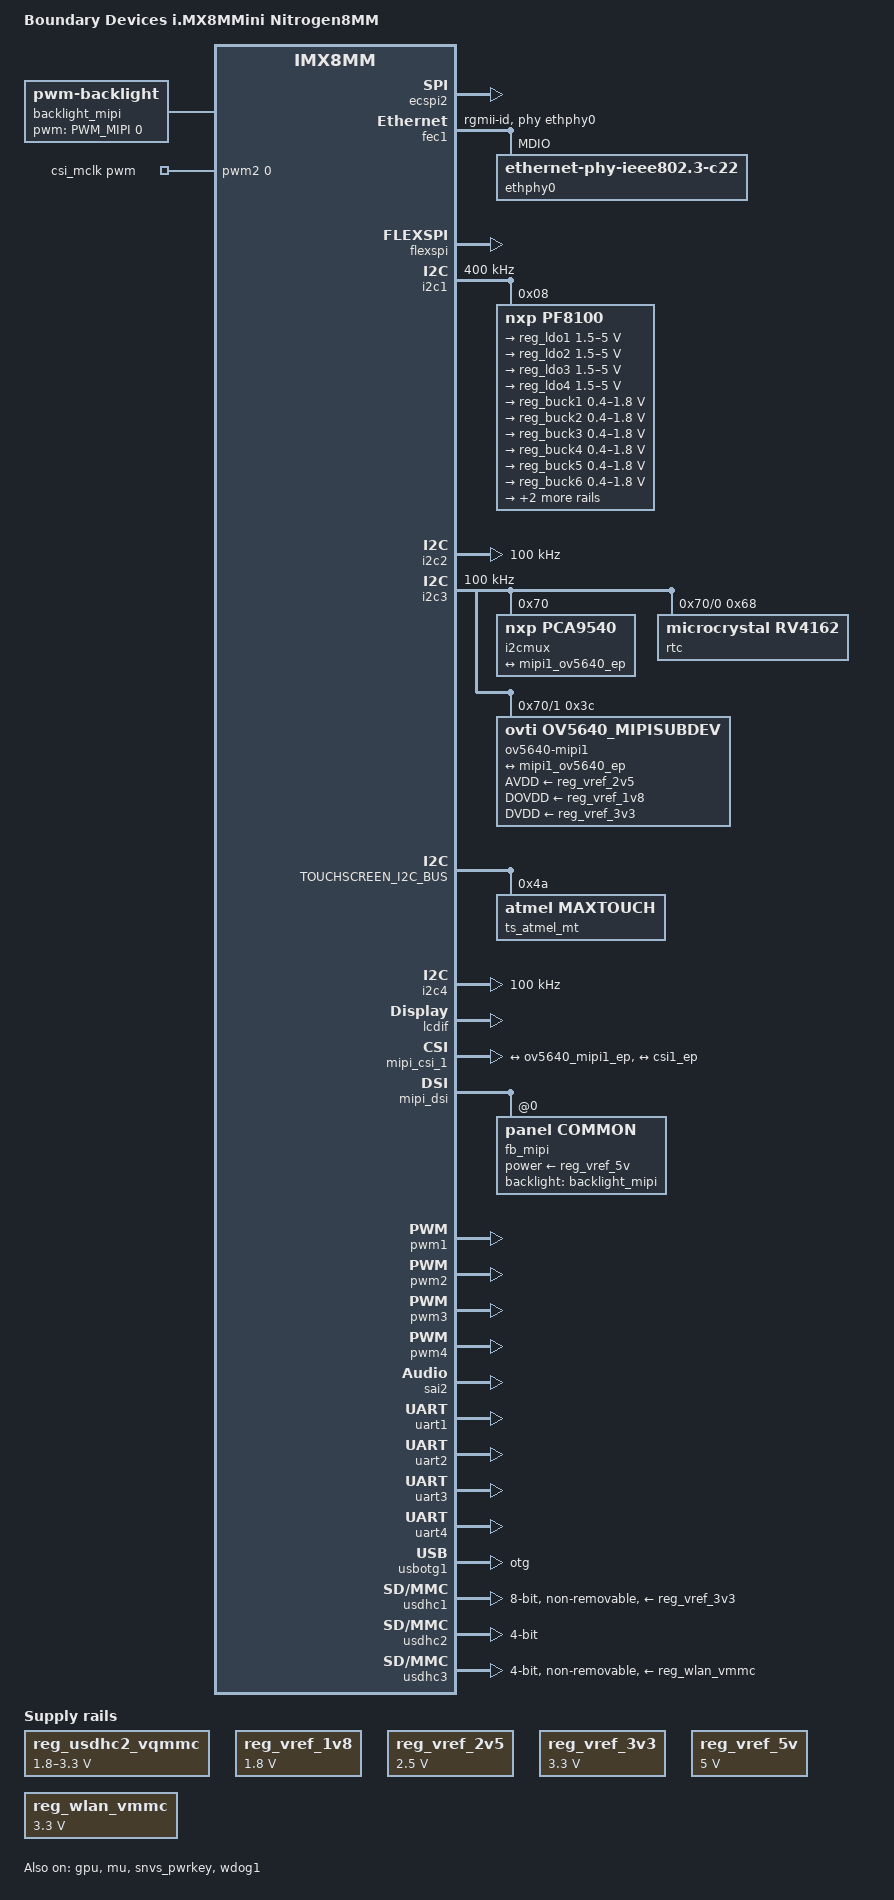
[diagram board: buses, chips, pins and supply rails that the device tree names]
// SPDX-License-Identifier: (GPL-2.0+ OR MIT)
/*
 * Copyright 2018 Boundary Devices
 */
#ifndef TOUCHSCREEN_I2C_BUS
#define TOUCHSCREEN_I2C_BUS	i2c2
#endif

#ifndef PWM_MIPI
#define PWM_MIPI	pwm3
#endif

#ifndef TC358867_I2C_BUS
#define TC358867_I2C_BUS	<&TOUCHSCREEN_I2C_BUS>
#endif

&iomuxc {
	pinctrl-names = "default";
	pinctrl-0 = <&pinctrl_hog>;

	pinctrl_bt_rfkill: bt-rfkillgrp {
		fsl,pins = <
#define GP_BT_RFKILL_RESET	<&gpio3 14 GPIO_ACTIVE_LOW>
			MX8MMN(IOMUXC_NAND_DQS_GPIO3_IO14, 0x119)
		>;
	};

	pinctrl_ecspi2: ecspi2grp {
		fsl,pins = <
			/* J15 */
#define GP_ECSPI2_CS0	<&gpio5 13 GPIO_ACTIVE_LOW>
			MX8MMN(IOMUXC_ECSPI2_SS0_GPIO5_IO13, 0x140)	/* Pin 39 */
			MX8MMN(IOMUXC_ECSPI2_MISO_ECSPI2_MISO, 0x19)	/* Pin 41 */
			MX8MMN(IOMUXC_ECSPI2_SCLK_ECSPI2_SCLK, 0x19)	/* Pin 43 */
			MX8MMN(IOMUXC_ECSPI2_MOSI_ECSPI2_MOSI, 0x19)	/* Pin 45 */
		>;
	};

	pinctrl_fec1: fec1grp {
		fsl,pins = <
			/* PAD_CTL_ODE is screwy on 8mm mini, avoid it */
#define GP_MII_MDC	<&gpio1 16 GPIO_PULSE_HIGH>
			MX8MMN(IOMUXC_ENET_MDC_GPIO1_IO16, 0x00)
#define GP_MII_MDIO	<&gpio1 17 GPIO_ACTIVE_HIGH>
			MX8MMN(IOMUXC_ENET_MDIO_GPIO1_IO17, 0x00)
			MX8MMN(IOMUXC_ENET_RD0_ENET1_RGMII_RD0, 0x91)
			MX8MMN(IOMUXC_ENET_RD1_ENET1_RGMII_RD1, 0x91)
			MX8MMN(IOMUXC_ENET_RD2_ENET1_RGMII_RD2, 0x91)
			MX8MMN(IOMUXC_ENET_RD3_ENET1_RGMII_RD3, 0x91)
			MX8MMN(IOMUXC_ENET_RXC_ENET1_RGMII_RXC, 0x91)
			MX8MMN(IOMUXC_ENET_RX_CTL_ENET1_RGMII_RX_CTL, 0x91)
			MX8MMN(IOMUXC_ENET_TD0_ENET1_RGMII_TD0, 0x10)
			MX8MMN(IOMUXC_ENET_TD1_ENET1_RGMII_TD1, 0x10)
			MX8MMN(IOMUXC_ENET_TD2_ENET1_RGMII_TD2, 0x10)
			MX8MMN(IOMUXC_ENET_TD3_ENET1_RGMII_TD3, 0x10)
			MX8MMN(IOMUXC_ENET_TXC_ENET1_RGMII_TXC, 0x12)
			MX8MMN(IOMUXC_ENET_TX_CTL_ENET1_RGMII_TX_CTL, 0x10)
#define GP_FEC1_RESET	<&gpio3 15 GPIO_ACTIVE_LOW>
			MX8MMN(IOMUXC_NAND_RE_B_GPIO3_IO15, 0x159)
#define GPIRQ_FEC1_PHY	<&gpio3 16 IRQ_TYPE_LEVEL_LOW>
			MX8MMN(IOMUXC_NAND_READY_B_GPIO3_IO16, 0x159)
		>;
	};

	pinctrl_flexspi: flexspigrp {
		fsl,pins = <
			MX8MMN(IOMUXC_NAND_ALE_QSPI_A_SCLK, 0x1c2)
			MX8MMN(IOMUXC_NAND_CE0_B_QSPI_A_SS0_B, 0x82)
			MX8MMN(IOMUXC_NAND_DATA00_QSPI_A_DATA0, 0x82)
			MX8MMN(IOMUXC_NAND_DATA01_QSPI_A_DATA1, 0x82)
			MX8MMN(IOMUXC_NAND_DATA02_QSPI_A_DATA2, 0x82)
			MX8MMN(IOMUXC_NAND_DATA03_QSPI_A_DATA3, 0x82)
		>;
	};

	pinctrl_hog: hoggrp {
		fsl,pins = <
			MX8MMN(IOMUXC_GPIO1_IO03_GPIO1_IO3, 0x09)
			MX8MMN(IOMUXC_GPIO1_IO08_GPIO1_IO8, 0x09)
		>;
	};

	pinctrl_i2c1: i2c1grp {
		fsl,pins = <
			MX8MMN(IOMUXC_I2C1_SCL_I2C1_SCL, 0x400001c3)
			MX8MMN(IOMUXC_I2C1_SDA_I2C1_SDA, 0x400001c3)
		>;
	};

	pinctrl_i2c1_1: i2c1_1grp {
		fsl,pins = <
#define GP_I2C1_SCL	<&gpio5 14 GPIO_OPEN_DRAIN>
			MX8MMN(IOMUXC_I2C1_SCL_GPIO5_IO14, 0x400001c3)
#define GP_I2C1_SDA	<&gpio5 15 GPIO_OPEN_DRAIN>
			MX8MMN(IOMUXC_I2C1_SDA_GPIO5_IO15, 0x400001c3)
		>;
	};

	pinctrl_i2c1_pf8100: i2c1-pf8100grp {
		fsl,pins = <
#define GP_I2C1_PF8100_EWARN	<&gpio3 3 GPIO_ACTIVE_LOW>
			MX8MMN(IOMUXC_NAND_CE2_B_GPIO3_IO3, 0x149)
#define GP_I2C1_PF8100_FAULT	<&gpio3 4 GPIO_ACTIVE_LOW>
			MX8MMN(IOMUXC_NAND_CE3_B_GPIO3_IO4, 0x149)
		>;
	};

	pinctrl_i2c2: i2c2grp {
		fsl,pins = <
			MX8MMN(IOMUXC_I2C2_SCL_I2C2_SCL, 0x400001c3)
			MX8MMN(IOMUXC_I2C2_SDA_I2C2_SDA, 0x400001c3)
		>;
	};

	pinctrl_i2c2_1: i2c2_1grp {
		fsl,pins = <
#define GP_I2C2_SCL	<&gpio5 16 GPIO_OPEN_DRAIN>
			MX8MMN(IOMUXC_I2C2_SCL_GPIO5_IO16, 0x400001c3)
#define GP_I2C2_SDA	<&gpio5 17 GPIO_OPEN_DRAIN>
			MX8MMN(IOMUXC_I2C2_SDA_GPIO5_IO17, 0x400001c3)
		>;
	};

	pinctrl_sn65dsi83: sn65dsi83grp {
		fsl,pins = <
#define GPIRQ_SN65DSI83	<&gpio1 1 IRQ_TYPE_LEVEL_HIGH>
			MX8MMN(IOMUXC_GPIO1_IO01_GPIO1_IO1, 0x04)
#define GP_SN65DSI83_EN	<&gpio1 9 GPIO_ACTIVE_HIGH>
			MX8MMN(IOMUXC_GPIO1_IO09_GPIO1_IO9, 0x106)
		>;
	};

	pinctrl_ts_atmel: ts-atmelgrp {
		fsl,pins = <
#define GPIRQ_TS_ATMEL	<&gpio1 6 IRQ_TYPE_EDGE_FALLING>
#define GP_TS_ATMEL	<&gpio1 6 GPIO_ACTIVE_LOW>
			MX8MMN(IOMUXC_GPIO1_IO06_GPIO1_IO6, 0x149)
#define GP_TS_ATMEL_RESET	<&gpio1 7 GPIO_ACTIVE_LOW>
			MX8MMN(IOMUXC_GPIO1_IO07_GPIO1_IO7, 0x149)
		>;
	};

	pinctrl_ts_gt911: ts-gt911grp {
		fsl,pins = <
#define GPIRQ_GT911 		<&gpio1 6 IRQ_TYPE_LEVEL_HIGH>
#define GP_GT911_IRQ 		<&gpio1 6 GPIO_ACTIVE_HIGH>
			MX8MMN(IOMUXC_GPIO1_IO06_GPIO1_IO6, 0x1d6)
			/* driver writes levels, instead of active/inactive */
#define GP_GT911_RESET		<&gpio1 7 GPIO_ACTIVE_HIGH>
			MX8MMN(IOMUXC_GPIO1_IO07_GPIO1_IO7, 0x149)
		>;
	};

	pinctrl_ts_ft5x06: ts-ft5x06grp {
		fsl,pins = <
#define GPIRQ_TS_FT5X06	<&gpio1 6 IRQ_TYPE_EDGE_FALLING>
#define GP_TS_FT5X06_WAKE	<&gpio1 6 GPIO_ACTIVE_LOW>
			MX8MMN(IOMUXC_GPIO1_IO06_GPIO1_IO6, 0x149)
#define GP_TS_FT5X06_RESET	<&gpio1 7 GPIO_ACTIVE_LOW>
			MX8MMN(IOMUXC_GPIO1_IO07_GPIO1_IO7, 0x109)
		>;
	};

	pinctrl_ts_ft7250: ts-ft7250grp {
		fsl,pins = <
#define GPIRQ_TS_FT7250	<&gpio1 6 IRQ_TYPE_EDGE_FALLING>
#define GP_TS_FT7250_WAKE	<&gpio1 6 GPIO_ACTIVE_LOW>
			MX8MMN(IOMUXC_GPIO1_IO06_GPIO1_IO6, 0x149)
#define GP_TS_FT7250_RESET	<&gpio1 7 GPIO_ACTIVE_LOW>
			MX8MMN(IOMUXC_GPIO1_IO07_GPIO1_IO7, 0x109)
		>;
	};

	pinctrl_ts_gslx680: ts-gslx680grp {
		fsl,pins = <
#define GPIRQ_GSLX680	<&gpio1 6 IRQ_TYPE_EDGE_FALLING>
			MX8MMN(IOMUXC_GPIO1_IO06_GPIO1_IO6, 0x149)
#define GP_TS_GSLX680_POWER	<&gpio1 7 GPIO_ACTIVE_HIGH>
			MX8MMN(IOMUXC_GPIO1_IO07_GPIO1_IO7, 0x109)
		>;
	};

	pinctrl_ts_ili251x: ts-ili251xgrp {
		fsl,pins = <
#define GPIRQ_TS_ILI251X	<&gpio1 6 IRQ_TYPE_EDGE_FALLING>
			MX8MMN(IOMUXC_GPIO1_IO06_GPIO1_IO6, 0x149)
#define GP_TS_ILI251X_RESET	<&gpio1 7 GPIO_ACTIVE_LOW>
			MX8MMN(IOMUXC_GPIO1_IO07_GPIO1_IO7, 0x109)
		>;
	};

	pinctrl_ts_st1633: ts-st1633grp {
		fsl,pins = <
#define GPIRQ_ST1633 		<&gpio1 6 IRQ_TYPE_EDGE_FALLING>
#define GP_ST1633_IRQ 		<&gpio1 6 GPIO_ACTIVE_LOW>
			MX8MMN(IOMUXC_GPIO1_IO06_GPIO1_IO6, 0x1d6)
#define GP_ST1633_RESET		<&gpio1 7 GPIO_ACTIVE_LOW>
			MX8MMN(IOMUXC_GPIO1_IO07_GPIO1_IO7, 0x149)
		>;
	};

	pinctrl_i2c3: i2c3grp {
		fsl,pins = <
			MX8MMN(IOMUXC_I2C3_SCL_I2C3_SCL, 0x400001c3)
			MX8MMN(IOMUXC_I2C3_SDA_I2C3_SDA, 0x400001c3)
		>;
	};

	pinctrl_i2c3_1: i2c3_1grp {
		fsl,pins = <
#define GP_I2C3_SCL	<&gpio5 18 GPIO_OPEN_DRAIN>
			MX8MMN(IOMUXC_I2C3_SCL_GPIO5_IO18, 0x400001c3)
#define GP_I2C3_SDA	<&gpio5 19 GPIO_OPEN_DRAIN>
			MX8MMN(IOMUXC_I2C3_SDA_GPIO5_IO19, 0x400001c3)
		>;
	};

	pinctrl_i2c3a_rv4162: i2c3a-rv4162grp {
		fsl,pins = <
#define GPIRQ_RV4162		<&gpio4 22 IRQ_TYPE_LEVEL_LOW>
			MX8MMN(IOMUXC_SAI2_RXC_GPIO4_IO22, 0x1c0)
		>;
	};

	pinctrl_i2c3b_ov5640_mipi: i2c3b-ov5640-mipigrp {
		fsl,pins = <
#define GP_OV5640_MIPI_POWER_DOWN	<&gpio1 5 GPIO_ACTIVE_HIGH>
			MX8MMN(IOMUXC_GPIO1_IO05_GPIO1_IO5, 0x141)
#define GP_OV5640_MIPI_RESET		<&gpio1 11 GPIO_ACTIVE_LOW>
			MX8MMN(IOMUXC_GPIO1_IO11_GPIO1_IO11, 0x101)
		>;
	};

	pinctrl_i2c4: i2c4grp {
		fsl,pins = <
			MX8MMN(IOMUXC_I2C4_SCL_I2C4_SCL, 0x400001c3)
			MX8MMN(IOMUXC_I2C4_SDA_I2C4_SDA, 0x400001c3)
		>;
	};

	pinctrl_i2c4_1: i2c4_1grp {
		fsl,pins = <
#define GP_I2C4_SCL	<&gpio5 20 GPIO_OPEN_DRAIN>
			MX8MMN(IOMUXC_I2C4_SCL_GPIO5_IO20, 0x400001c3)
#define GP_I2C4_SDA	<&gpio5 21 GPIO_OPEN_DRAIN>
			MX8MMN(IOMUXC_I2C4_SDA_GPIO5_IO21, 0x400001c3)
		>;
	};

	pinctrl_lt8912_2: lt8912_2grp {
		fsl,pins = <
#define GP_LT8912_2_RESET	<&gpio1 9 GPIO_ACTIVE_LOW>
			MX8MMN(IOMUXC_GPIO1_IO09_GPIO1_IO9, 0x16)
#define GPIRQ_LT8912_2	<&gpio1 1 IRQ_TYPE_LEVEL_LOW>
			MX8MMN(IOMUXC_GPIO1_IO01_GPIO1_IO1, 0x1c0)
		>;
	};

#ifndef SKIP_MIPI_PANELS
	pinctrl_mipi_com50h5n03ulc: mipi-com50h5n03ulcgrp {
		fsl,pins = <
#define GP_MIPI_RESET	<&gpio1 9 GPIO_ACTIVE_LOW>
			MX8MMN(IOMUXC_GPIO1_IO09_GPIO1_IO9, 0x16)
		>;
	};

	pinctrl_mipi_cs005_0004_03: mipi-cs005-0004-03grp {
		fsl,pins = <
#undef GP_CS005_0004_03_BKL_EN
#define GP_CS005_0004_03_BKL_EN	<&gpio1 9 GPIO_ACTIVE_HIGH>
			MX8MMN(IOMUXC_GPIO1_IO09_GPIO1_IO9, 0x16)
#define GP_CS005_0004_03_DISPLAY_EN	<&gpio1 1 GPIO_ACTIVE_HIGH>
			MX8MMN(IOMUXC_GPIO1_IO01_GPIO1_IO1, 0x106)
		>;
	};

	pinctrl_mipi_er_tft050: mipi-er-tft050grp {
		fsl,pins = <
#define GP_TC358767_EN	<&gpio1 9 GPIO_ACTIVE_HIGH>
			MX8MMN(IOMUXC_GPIO1_IO09_GPIO1_IO9, 0x100)
		>;
	};

	pinctrl_mipi_lcd133_070: mipi-lcd133-070grp {
		fsl,pins = <
#define GP_LCD133_070_RESET		<&gpio1 1 GPIO_ACTIVE_LOW>
			MX8MMN(IOMUXC_GPIO1_IO01_GPIO1_IO1, 0x116)
#define GP_LCD133_070_ENABLE		<&gpio1 9 GPIO_ACTIVE_HIGH>
			MX8MMN(IOMUXC_GPIO1_IO09_GPIO1_IO9, 0x116)
		>;
	};

	pinctrl_mipi_lcm_jm430: mipi-lcm-jm430grp {
		fsl,pins = <
#define GP_TC358762_EN	<&gpio1 9 GPIO_ACTIVE_HIGH>
			MX8MMN(IOMUXC_GPIO1_IO09_GPIO1_IO9, 0x16)
#define GP_JM430_DISPLAY_EN	<&gpio1 1 GPIO_ACTIVE_HIGH>
			MX8MMN(IOMUXC_GPIO1_IO01_GPIO1_IO1, 0x106)
		>;
	};

	pinctrl_mipi_ls050t1sx12: mipi-ls050t1sx12grp {
		fsl,pins = <
#define GP_MIPI_RESET	<&gpio1 9 GPIO_ACTIVE_LOW>
			MX8MMN(IOMUXC_GPIO1_IO09_GPIO1_IO9, 0x16)
		>;
	};

	pinctrl_mipi_ltk0680ytmdb: mipi-ltk0680ytmdbgrp {
		fsl,pins = <
#define GP_MIPI_RESET	<&gpio1 9 GPIO_ACTIVE_LOW>
			MX8MMN(IOMUXC_GPIO1_IO09_GPIO1_IO9, 0x16)
		>;
	};

	pinctrl_mipi_ltk080a60a004t: mipi-ltk080a60a004tgrp {
		fsl,pins = <
#define GP_LTK08_MIPI_EN	<&gpio1 1 GPIO_ACTIVE_HIGH>
			MX8MMN(IOMUXC_GPIO1_IO01_GPIO1_IO1, 0x116)
		>;
	};

	pinctrl_mipi_zwt055azh: mipi-zwt055azhgrp {
		fsl,pins = <
#define GP_MIPI_RESET	<&gpio1 9 GPIO_ACTIVE_LOW>
			MX8MMN(IOMUXC_GPIO1_IO09_GPIO1_IO9, 0x16)
		>;
	};
#endif

	pinctrl_pwm1: pwm1grp {
		fsl,pins = <
			MX8MMN(IOMUXC_SPDIF_EXT_CLK_PWM1_OUT, 0x16)
		>;
	};

	pinctrl_pwm2: pwm2grp {
		fsl,pins = <
			MX8MMN(IOMUXC_SPDIF_RX_PWM2_OUT, 0x16)
		>;
	};

	pinctrl_pwm3: pwm3grp {
		fsl,pins = <
			MX8MMN(IOMUXC_SPDIF_TX_PWM3_OUT, 0x116)
		>;
	};

	pinctrl_pwm4: pwm4grp {
		fsl,pins = <
			MX8MMN(IOMUXC_SAI3_MCLK_PWM4_OUT, 0x16)
		>;
	};

	pinctrl_reg_usdhc2_vqmmc: reg_usdhc2_vqmmcgrp {
		fsl,pins = <
#define GP_USDHC2_VSEL	<&gpio3 2 GPIO_ACTIVE_HIGH>
			MX8MMN(IOMUXC_NAND_CE1_B_GPIO3_IO2, 0x16)
		>;
	};

	pinctrl_reg_wlan_vmmc: reg-wlan-vmmcgrp {
		fsl,pins = <
#define GP_REG_WLAN_VMMC	<&gpio3 20 GPIO_ACTIVE_HIGH>
			MX8MMN(IOMUXC_SAI5_RXC_GPIO3_IO20, 0x16)
		>;
	};

	pinctrl_sai2: sai2grp {
		fsl,pins = <
			/* Bluetooth PCM */
			MX8MMN(IOMUXC_SAI2_TXFS_SAI2_TX_SYNC, 0xd6)
			MX8MMN(IOMUXC_SAI2_TXC_SAI2_TX_BCLK, 0xd6)
			MX8MMN(IOMUXC_SAI2_TXD0_SAI2_TX_DATA0, 0xd6)
			MX8MMN(IOMUXC_SAI2_RXD0_SAI2_RX_DATA0, 0xd6)
		>;
	};

	pinctrl_sai3: sai3grp {
		fsl,pins = <
			/* J16 */
			MX8MMN(IOMUXC_SAI3_MCLK_SAI3_MCLK, 0xd6)	/* Pin 22 */
			MX8MMN(IOMUXC_SAI3_TXC_SAI3_TX_BCLK, 0xd6)	/* Pin 26 */
			MX8MMN(IOMUXC_SAI3_TXD_SAI3_TX_DATA0, 0xd6)	/* Pin 28 */
			MX8MMN(IOMUXC_SAI3_RXD_SAI3_RX_DATA0, 0xd6)	/* Pin 30 */
		>;
	};

	pinctrl_sai5: sai5grp {
		fsl,pins = <
			MX8MMN(IOMUXC_SAI5_MCLK_SAI5_MCLK, 0xd6)
			MX8MMN(IOMUXC_SAI5_RXD0_SAI5_RX_DATA0, 0xd6)
			MX8MMN(IOMUXC_SAI5_RXD1_SAI5_RX_DATA1, 0xd6)
			MX8MMN(IOMUXC_SAI5_RXD2_SAI5_RX_DATA2, 0xd6)
			MX8MMN(IOMUXC_SAI5_RXD3_SAI5_RX_DATA3, 0xd6)
		>;
	};

	pinctrl_sc18is602b: sc18is602bgrp {
		fsl,pins = <
#define GP_SC18IS602B_RESET	<&gpio1 9 GPIO_ACTIVE_LOW>
			MX8MMN(IOMUXC_GPIO1_IO09_GPIO1_IO9, 0x101)
		>;
	};

	pinctrl_sound_wm8960: sound-wm8960grp {
		fsl,pins = <
#define GP_WM8960_MIC_DET		<&gpio1 10 GPIO_ACTIVE_HIGH>
			MX8MMN(IOMUXC_GPIO1_IO10_GPIO1_IO10, 0x80)
#define GP_WM8960_HP_DET		<&gpio4 28 GPIO_ACTIVE_HIGH>
			MX8MMN(IOMUXC_SAI3_RXFS_GPIO4_IO28, 0x80)
		>;
	};

	pinctrl_uart1: uart1grp {
		fsl,pins = <
			MX8MMN(IOMUXC_UART1_RXD_UART1_DCE_RX, 0x140)
			MX8MMN(IOMUXC_UART1_TXD_UART1_DCE_TX, 0x140)
			MX8MMN(IOMUXC_UART3_RXD_UART1_DCE_CTS_B, 0x140)
			MX8MMN(IOMUXC_UART3_TXD_UART1_DCE_RTS_B, 0x140)
		>;
	};

	pinctrl_uart2: uart2grp {
		fsl,pins = <
			MX8MMN(IOMUXC_UART2_RXD_UART2_DCE_RX, 0x140)
			MX8MMN(IOMUXC_UART2_TXD_UART2_DCE_TX, 0x140)
		>;
	};

	pinctrl_uart3: uart3grp {
		fsl,pins = <
			MX8MMN(IOMUXC_ECSPI1_SCLK_UART3_DCE_RX, 0x140)
			MX8MMN(IOMUXC_ECSPI1_MOSI_UART3_DCE_TX, 0x140)
			MX8MMN(IOMUXC_ECSPI1_SS0_UART3_DCE_RTS_B, 0x140)
			MX8MMN(IOMUXC_ECSPI1_MISO_UART3_DCE_CTS_B, 0x140)
		>;
	};

	pinctrl_uart4: uart4grp {
		fsl,pins = <
			MX8MMN(IOMUXC_UART4_RXD_UART4_DCE_RX, 0x140)
			MX8MMN(IOMUXC_UART4_TXD_UART4_DCE_TX, 0x140)
		>;
	};

	pinctrl_usbotg1: usbotg1grp {
		fsl,pins = <
			MX8MMN(IOMUXC_GPIO1_IO12_USB1_OTG_PWR, 0x16)
			MX8MMN(IOMUXC_GPIO1_IO13_USB1_OTG_OC, 0x156)
		>;
	};

	pinctrl_usdhc1: usdhc1grp {
		fsl,pins = <
			MX8MMN(IOMUXC_SD1_CLK_USDHC1_CLK, 0x190)
			MX8MMN(IOMUXC_SD1_CMD_USDHC1_CMD, 0x1d0)
			MX8MMN(IOMUXC_SD1_DATA0_USDHC1_DATA0, 0x1d0)
			MX8MMN(IOMUXC_SD1_DATA1_USDHC1_DATA1, 0x1d0)
			MX8MMN(IOMUXC_SD1_DATA2_USDHC1_DATA2, 0x1d0)
			MX8MMN(IOMUXC_SD1_DATA3_USDHC1_DATA3, 0x1d0)
			MX8MMN(IOMUXC_SD1_DATA4_USDHC1_DATA4, 0x1d0)
			MX8MMN(IOMUXC_SD1_DATA5_USDHC1_DATA5, 0x1d0)
			MX8MMN(IOMUXC_SD1_DATA6_USDHC1_DATA6, 0x1d0)
			MX8MMN(IOMUXC_SD1_DATA7_USDHC1_DATA7, 0x1d0)
#define GP_EMMC_RESET		<&gpio2 10 GPIO_ACTIVE_LOW>
			MX8MMN(IOMUXC_SD1_RESET_B_GPIO2_IO10, 0x141)
		>;
	};

	pinctrl_usdhc1_100mhz: usdhc1grp100mhz {
		fsl,pins = <
			MX8MMN(IOMUXC_SD1_CLK_USDHC1_CLK, 0x194)
			MX8MMN(IOMUXC_SD1_CMD_USDHC1_CMD, 0x1d4)
			MX8MMN(IOMUXC_SD1_DATA0_USDHC1_DATA0, 0x1d4)
			MX8MMN(IOMUXC_SD1_DATA1_USDHC1_DATA1, 0x1d4)
			MX8MMN(IOMUXC_SD1_DATA2_USDHC1_DATA2, 0x1d4)
			MX8MMN(IOMUXC_SD1_DATA3_USDHC1_DATA3, 0x1d4)
			MX8MMN(IOMUXC_SD1_DATA4_USDHC1_DATA4, 0x1d4)
			MX8MMN(IOMUXC_SD1_DATA5_USDHC1_DATA5, 0x1d4)
			MX8MMN(IOMUXC_SD1_DATA6_USDHC1_DATA6, 0x1d4)
			MX8MMN(IOMUXC_SD1_DATA7_USDHC1_DATA7, 0x1d4)
		>;
	};

	pinctrl_usdhc1_200mhz: usdhc1grp200mhz {
		fsl,pins = <
			MX8MMN(IOMUXC_SD1_CLK_USDHC1_CLK, 0x196)
			MX8MMN(IOMUXC_SD1_CMD_USDHC1_CMD, 0x1d6)
			MX8MMN(IOMUXC_SD1_DATA0_USDHC1_DATA0, 0x1d6)
			MX8MMN(IOMUXC_SD1_DATA1_USDHC1_DATA1, 0x1d6)
			MX8MMN(IOMUXC_SD1_DATA2_USDHC1_DATA2, 0x1d6)
			MX8MMN(IOMUXC_SD1_DATA3_USDHC1_DATA3, 0x1d6)
			MX8MMN(IOMUXC_SD1_DATA4_USDHC1_DATA4, 0x1d6)
			MX8MMN(IOMUXC_SD1_DATA5_USDHC1_DATA5, 0x1d6)
			MX8MMN(IOMUXC_SD1_DATA6_USDHC1_DATA6, 0x1d6)
			MX8MMN(IOMUXC_SD1_DATA7_USDHC1_DATA7, 0x1d6)
		>;
	};

	pinctrl_usdhc2: usdhc2grp {
		fsl,pins = <
			MX8MMN(IOMUXC_SD2_CLK_USDHC2_CLK, 0x190)
			MX8MMN(IOMUXC_SD2_CMD_USDHC2_CMD, 0x1d0)
			MX8MMN(IOMUXC_SD2_DATA0_USDHC2_DATA0, 0x1d0)
			MX8MMN(IOMUXC_SD2_DATA1_USDHC2_DATA1, 0x1d0)
			MX8MMN(IOMUXC_SD2_DATA2_USDHC2_DATA2, 0x1d0)
			MX8MMN(IOMUXC_SD2_DATA3_USDHC2_DATA3, 0x1d0)
#define GP_USDHC2_CD	<&gpio2 12 GPIO_ACTIVE_LOW>
			MX8MMN(IOMUXC_SD2_CD_B_GPIO2_IO12, 0x1c4)
		>;
	};

	pinctrl_usdhc2_100mhz: usdhc2grp100mhz {
		fsl,pins = <
			MX8MMN(IOMUXC_SD2_CLK_USDHC2_CLK, 0x194)
			MX8MMN(IOMUXC_SD2_CMD_USDHC2_CMD, 0x1d4)
			MX8MMN(IOMUXC_SD2_DATA0_USDHC2_DATA0, 0x1d4)
			MX8MMN(IOMUXC_SD2_DATA1_USDHC2_DATA1, 0x1d4)
			MX8MMN(IOMUXC_SD2_DATA2_USDHC2_DATA2, 0x1d4)
			MX8MMN(IOMUXC_SD2_DATA3_USDHC2_DATA3, 0x1d4)
		>;
	};

	pinctrl_usdhc2_200mhz: usdhc2grp200mhz {
		fsl,pins = <
			MX8MMN(IOMUXC_SD2_CLK_USDHC2_CLK, 0x196)
			MX8MMN(IOMUXC_SD2_CMD_USDHC2_CMD, 0x1d6)
			MX8MMN(IOMUXC_SD2_DATA0_USDHC2_DATA0, 0x1d6)
			MX8MMN(IOMUXC_SD2_DATA1_USDHC2_DATA1, 0x1d6)
			MX8MMN(IOMUXC_SD2_DATA2_USDHC2_DATA2, 0x1d6)
			MX8MMN(IOMUXC_SD2_DATA3_USDHC2_DATA3, 0x1d6)
		>;
	};

	pinctrl_usdhc3: usdhc3grp {
		fsl,pins = <
			MX8MMN(IOMUXC_NAND_WE_B_USDHC3_CLK, 0x190)
			MX8MMN(IOMUXC_NAND_WP_B_USDHC3_CMD, 0x1d0)
			MX8MMN(IOMUXC_NAND_DATA04_USDHC3_DATA0, 0x1d0)
			MX8MMN(IOMUXC_NAND_DATA05_USDHC3_DATA1, 0x1d0)
			MX8MMN(IOMUXC_NAND_DATA06_USDHC3_DATA2, 0x1d0)
			MX8MMN(IOMUXC_NAND_DATA07_USDHC3_DATA3, 0x1d0)
			/* Bluetooth slow clock */
			MX8MMN(IOMUXC_GPIO1_IO00_ANAMIX_REF_CLK_32K, 0x03)
		>;
	};

	pinctrl_usdhc3_100mhz: usdhc3grp100mhz {
		fsl,pins = <
			MX8MMN(IOMUXC_NAND_WE_B_USDHC3_CLK, 0x194)
			MX8MMN(IOMUXC_NAND_WP_B_USDHC3_CMD, 0x1d4)
			MX8MMN(IOMUXC_NAND_DATA04_USDHC3_DATA0, 0x1d4)
			MX8MMN(IOMUXC_NAND_DATA05_USDHC3_DATA1, 0x1d4)
			MX8MMN(IOMUXC_NAND_DATA06_USDHC3_DATA2, 0x1d4)
			MX8MMN(IOMUXC_NAND_DATA07_USDHC3_DATA3, 0x1d4)
		>;
	};

	pinctrl_usdhc3_200mhz: usdhc3grp200mhz {
		fsl,pins = <
			MX8MMN(IOMUXC_NAND_WE_B_USDHC3_CLK, 0x196)
			MX8MMN(IOMUXC_NAND_WP_B_USDHC3_CMD, 0x1d6)
			MX8MMN(IOMUXC_NAND_DATA04_USDHC3_DATA0, 0x1d6)
			MX8MMN(IOMUXC_NAND_DATA05_USDHC3_DATA1, 0x1d6)
			MX8MMN(IOMUXC_NAND_DATA06_USDHC3_DATA2, 0x1d6)
			MX8MMN(IOMUXC_NAND_DATA07_USDHC3_DATA3, 0x1d6)
		>;
	};

	pinctrl_wdog: wdoggrp {
		fsl,pins = <
			MX8MMN(IOMUXC_GPIO1_IO02_WDOG1_WDOG_B, 0x140)
		>;
	};

	pinctrl_wdog_gpio: wdog-gpiogrp {
		fsl,pins = <
#define GP_WDOG_RESET	<&gpio1 2 GPIO_ACTIVE_LOW>
			MX8MMN(IOMUXC_GPIO1_IO02_GPIO1_IO2, 0x140)
		>;
	};
};

#ifndef SKIP_MIPI_PANELS
#include "panel-com50h5n03ulc.dtsi"
#include "panel-cs005-0004-03.dtsi"
#include "panel-dmt050wvnxcmi.dtsi"
#include "panel-er-tft050.dtsi"
#include "panel-lcd133-070.dtsi"
#include "panel-lcm-jm430.dtsi"
#include "panel-ls050t1sx12.dtsi"
#include "panel-ltk0680ytmdb.dtsi"
#include "panel-ltk080a60a004t.dtsi"
#include "panel-m101nwwb.dtsi"
#include "panel-zwt055azh.dtsi"
#endif

/ {
	model = "Boundary Devices i.MX8MMini Nitrogen8MM";
	compatible = "boundary,imx8mm-nitrogen8mm", "fsl,imx8mm";

	aliases {
		a53 = &A53_0;
#ifndef SKIP_MIPI_PANELS
		backlight_mipi = &backlight_mipi;
		fb_mipi = &fb_mipi;
		lcdif = &lcdif;
		mipi = &fb_mipi;
		mipi_dsi = &mipi_dsi;
		mipi_to_lvds = &mipi_to_lvds;
		pca9540 = &pca9540;
		pca9540_2 = &pca9540_2;
		pca9546 = &pca9546;
		pwm_mipi = &PWM_MIPI;
#endif
#ifndef SKIP_MIPI_PANELS
		spi_lcd = &spi_lcd;
		t_mipi = &t_mipi;
		ts_atmel_mt = &ts_atmel_mt;
		ts_ft5x06 = &ts_ft5x06;
		ts_ft7250 = &ts_ft7250;
		ts_goodix = &ts_goodix;
		ts_gsl1680 = &ts_gsl1680;
		ts_ili251x = &ts_ili251x;
		ts_st1633i = &ts_st1633i;
#endif
	};

#ifndef SKIP_MIPI_PANELS
	backlight_mipi: backlight-mipi {
		brightness-levels = <0 1 2 3 4 5 6 7 8 9 10>;
		compatible = "pwm-backlight";
		default-brightness-level = <8>;
		display = <&display_subsystem>;
		pwms = <&PWM_MIPI 0 30000>;		/* 33.3 Khz */
		status = "okay";
	};
#endif

	bt-rfkill {
		compatible = "net,rfkill-gpio";
		pinctrl-names = "default";
		pinctrl-0 = <&pinctrl_bt_rfkill>;
		name = "bt-rfkill";
		type = <2>; /* Bluetooth */
		reset-gpios = GP_BT_RFKILL_RESET;
		status = "okay";
	};

	csi_mclk: csi-mclk {
		compatible = "pwm-clock";
		#clock-cells = <0>;
		clock-frequency = <20000000>;
		clock-output-names = "csi_mclk";
		pwms = <&pwm2 0 50>; /* 1 / 50 ns = 20 MHz */
	};

	reg_usdhc2_vqmmc: regulator-usdhc2-vqmmc {
		compatible = "regulator-gpio";
		pinctrl-names = "default";
		pinctrl-0 = <&pinctrl_reg_usdhc2_vqmmc>;
		regulator-name = "reg_sd2_vsel";
		regulator-min-microvolt = <1800000>;
		regulator-max-microvolt = <3300000>;
		regulator-type = "voltage";
		regulator-boot-on;
		regulator-always-on;
		gpios = GP_USDHC2_VSEL;
		states = <1800000 0x1
			  3300000 0x0>;
	};

	reg_vref_1v8: regulator-vref-1v8 {
		compatible = "regulator-fixed";
		regulator-name = "vref-1v8";
		regulator-min-microvolt = <1800000>;
		regulator-max-microvolt = <1800000>;
	};

	reg_vref_2v5: regulator-vref-2v5 {
		compatible = "regulator-fixed";
		regulator-name = "vref-2v5";
		regulator-min-microvolt = <2500000>;
		regulator-max-microvolt = <2500000>;
	};

	reg_vref_3v3: regulator-vref-3v3 {
		compatible = "regulator-fixed";
		regulator-name = "vref-3v3";
		regulator-min-microvolt = <3300000>;
		regulator-max-microvolt = <3300000>;
	};

	reg_vref_5v: regulator-vref-5v {
		compatible = "regulator-fixed";
		regulator-name = "vref-5v";
		regulator-min-microvolt = <5000000>;
		regulator-max-microvolt = <5000000>;
	};

	reg_wlan_vmmc: regulator-wlan-vmmc {
		compatible = "regulator-fixed";
		pinctrl-names = "default";
		pinctrl-0 = <&pinctrl_reg_wlan_vmmc>;
		regulator-name = "reg_wlan_vmmc";
		regulator-min-microvolt = <3300000>;
		regulator-max-microvolt = <3300000>;
		gpio = GP_REG_WLAN_VMMC;
		startup-delay-us = <70000>;
		enable-active-high;
	};
};

&A53_0 {
	cpu-supply = <&reg_buck4>;
};

&ecspi2 {
	pinctrl-names = "default";
	pinctrl-0 = <&pinctrl_ecspi2>;
	fsl,spi-num-chipselects = <1>;
	cs-gpios = GP_ECSPI2_CS0;
	status = "okay";
	#address-cells = <1>;
	#size-cells = <0>;
};

&fec1 {
	mdc-gpios = GP_MII_MDC;
	mdio-gpios = GP_MII_MDIO;
	pinctrl-names = "default";
	pinctrl-0 = <&pinctrl_fec1>;
#if 0
	phy-reset-gpios = GP_FEC1_RESET;
#endif
	phy-mode = "rgmii-id";
	phy-handle = <&ethphy0>;
	fsl,magic-packet;
	status = "okay";

	mdio {
		#address-cells = <1>;
		#size-cells = <0>;

		ethphy0: ethernet-phy {
			compatible = "ethernet-phy-ieee802.3-c22";
			interrupts-extended = GPIRQ_FEC1_PHY;
			reg-mask = <0x90>;
			rxc-skew-ps = <3000>;
			rxd0-skew-ps = <0>;
			rxd1-skew-ps = <0>;
			rxd2-skew-ps = <0>;
			rxd3-skew-ps = <0>;
			rxdv-skew-ps = <0>;
			txc-skew-ps = <3000>;
			txd0-skew-ps = <0>;
			txd1-skew-ps = <0>;
			txd2-skew-ps = <0>;
			txd3-skew-ps = <0>;
			txen-skew-ps = <0>;
		};
	};
};

&flexspi {
	pinctrl-names = "default";
	pinctrl-0 = <&pinctrl_flexspi>;
	status = "okay";
};

&gpu {
	status = "okay";
};

&i2c1 {
	clock-frequency = <400000>;
	pinctrl-names = "default", "gpio";
	pinctrl-0 = <&pinctrl_i2c1>;
	pinctrl-1 = <&pinctrl_i2c1_1>;
	scl-gpios = GP_I2C1_SCL;
	sda-gpios = GP_I2C1_SDA;
	status = "okay";

	pf8100@8 {
		compatible = "nxp,pf8100";
		pinctrl-names = "default";
		pinctrl-0 = <&pinctrl_i2c1_pf8100>;
		reg = <0x08>;

		regulators {
			reg_ldo1: ldo1 {
				regulator-always-on;
				regulator-boot-on;
				regulator-max-microvolt = <5000000>;
				regulator-min-microvolt = <1500000>;
			};

			reg_ldo2: ldo2 {
				regulator-always-on;
				regulator-boot-on;
				regulator-max-microvolt = <5000000>;
				regulator-min-microvolt = <1500000>;
#if 0
				/* vselect low is 3.3V, high is 1.8V */
				vselect-en;
#endif
			};

			reg_ldo3: ldo3 {
				regulator-always-on;
				regulator-boot-on;
				regulator-max-microvolt = <5000000>;
				regulator-min-microvolt = <1500000>;
			};

			reg_ldo4: ldo4 {
				regulator-always-on;
				regulator-boot-on;
				regulator-max-microvolt = <5000000>;
				regulator-min-microvolt = <1500000>;
			};

			reg_buck1: buck1 {
				nxp,phase-shift = <0>;
				regulator-max-microamp = <4500000>;
				regulator-always-on;
				regulator-boot-on;
				regulator-max-microvolt = <1800000>;
				regulator-min-microvolt =  <400000>;
			};

			reg_buck2: buck2 {
				regulator-always-on;
				regulator-boot-on;
				regulator-max-microvolt = <1800000>;
				regulator-min-microvolt =  <400000>;
			};

			reg_buck3: buck3 {
				regulator-always-on;
				regulator-boot-on;
				regulator-max-microvolt = <1800000>;
				regulator-min-microvolt =  <400000>;
				fast-slew = <1>;
			};

			reg_buck4: buck4 {
				alias = <&reg_buck4>;
				regulator-always-on;
				regulator-boot-on;
				regulator-max-microvolt = <1800000>;
				regulator-min-microvolt =  <400000>;
				fast-slew = <1>;
				dual-phase;
			};

			reg_buck5: buck5 {
				regulator-boot-on;
				regulator-max-microvolt = <1800000>;
				regulator-min-microvolt =  <400000>;
			};

			reg_buck6: buck6 {
				regulator-always-on;
				regulator-boot-on;
				regulator-max-microvolt = <1800000>;
				regulator-min-microvolt =  <400000>;
			};

			reg_buck7: buck7 {
				regulator-always-on;
				regulator-boot-on;
				regulator-max-microvolt = <4100000>;
				regulator-min-microvolt = <1000000>;
			};

			reg_vsnvs: vsnvs {
				regulator-always-on;
				regulator-boot-on;
				regulator-max-microvolt = <3300000>;
				regulator-min-microvolt = <1800000>;
			};
		};
	};
};

&i2c2 {
	clock-frequency = <100000>;
	pinctrl-names = "default", "gpio";
	pinctrl-0 = <&pinctrl_i2c2>;
	pinctrl-1 = <&pinctrl_i2c2_1>;
	scl-gpios = GP_I2C2_SCL;
	sda-gpios = GP_I2C2_SDA;
	status = "okay";
};

&i2c3 {
	clock-frequency = <100000>;
	pinctrl-names = "default", "gpio";
	pinctrl-0 = <&pinctrl_i2c3>;
	pinctrl-1 = <&pinctrl_i2c3_1>;
	scl-gpios = GP_I2C3_SCL;
	sda-gpios = GP_I2C3_SDA;
	status = "okay";

	i2cmux@70 {
		compatible = "nxp,pca9540";
		reg = <0x70>;
		#address-cells = <1>;
		#size-cells = <0>;

		i2c3a: i2c3@0 {
			reg = <0>;
			#address-cells = <1>;
			#size-cells = <0>;
		};

		i2c3b: i2c3@1 {
			reg = <1>;
			#address-cells = <1>;
			#size-cells = <0>;
		};
	};
};

#ifndef SKIP_MIPI_PANELS
&TOUCHSCREEN_I2C_BUS {
	spi_lcd: spi@2f {
		assigned-clocks = <&clk IMX8MMN(VIDEO_PLL1)>;
		assigned-clock-rates = <384000000>;
		compatible = "nxp,sc18is602b";
		pinctrl-names = "default";
		pinctrl-0 = <&pinctrl_sc18is602b>;
		reg = <0x2f>;
		reset-gpios = GP_SC18IS602B_RESET;
		status = "disabled";
		#address-cells = <1>;
		#size-cells = <0>;

		spidev_lcd: spidev@0 {
			compatible = "spidev";
			spi-cpha;
			spi-cpol;
			spi-max-frequency = <20000000>;
			reg = <0>;
		};
	};

	ts_atmel_mt: touchscreen@4a {
		compatible = "atmel,maxtouch";
		interrupts-extended = GPIRQ_TS_ATMEL;
		pinctrl-names = "default";
		pinctrl-0 = <&pinctrl_ts_atmel>;
		reg = <0x4a>;
		reset-gpios = GP_TS_ATMEL_RESET;
		wakeup-gpios = GP_TS_ATMEL;
	};

	ts_ft5x06: touchscreen@38 {
		compatible = "edt,ft5x06-ts";
		interrupts-extended = GPIRQ_TS_FT5X06;
		pinctrl-names = "default";
		pinctrl-0 = <&pinctrl_ts_ft5x06>;
		reg = <0x38>;
		reset-gpios = GP_TS_FT5X06_RESET;
		status = "disabled";
		wakeup-gpios = GP_TS_FT5X06_WAKE;
	};

	ts_ft7250: touchscreen_ft7250@38 {
		compatible = "edt,ft7250";
		interrupts-extended = GPIRQ_TS_FT7250;
		pinctrl-names = "default";
		pinctrl-0 = <&pinctrl_ts_ft7250>;
		reg = <0x38>;
		reset-gpios = GP_TS_FT7250_RESET;
		wakeup-gpios = GP_TS_FT7250_WAKE;
		status = "disabled";
	};

	ts_goodix: touchscreen@5d {
		compatible = "goodix,gt9271";
		display = <&display_subsystem>;
		esd-recovery-timeout-ms = <2000>;
		interrupts-extended = GPIRQ_GT911;
		irq-gpios = GP_GT911_IRQ;
		pinctrl-names = "default";
		pinctrl-0 = <&pinctrl_ts_gt911>;
		reg = <0x5d>;
		reset-gpios = GP_GT911_RESET;
		status = "disabled";
	};

	ts_gsl1680: touchscreen@40 {
		compatible = "silead,gsl1680";
		interrupts-extended = GPIRQ_GSLX680;
		pinctrl-names = "default";
		pinctrl-0 = <&pinctrl_ts_gslx680>;
		power-gpios = GP_TS_GSLX680_POWER;
		reg = <0x40>;
		status = "disabled";
		touchscreen-size-x = <480>;	/* swapped below */
		touchscreen-size-y = <800>;
		touchscreen-swapped-x-y;
	};

	ts_ili251x: touchscreen@41 {
		compatible = "ilitek,ili251x";
		interrupts-extended = GPIRQ_TS_ILI251X;
		pinctrl-names = "default";
		pinctrl-0 = <&pinctrl_ts_ili251x>;
		reg = <0x41>;
		reset-gpios = GP_TS_ILI251X_RESET;
		status = "disabled";
		touchscreen-size-x = <0x3fff>;
		touchscreen-size-y = <0x3fff>;
	};

	ts_st1633i: touchscreen@55 {
		compatible = "sitronix,st1633i";
		interrupts-extended = GPIRQ_ST1633;
		/* pins used by touchscreen */
		pinctrl-names = "default";
		pinctrl-0 = <&pinctrl_ts_st1633>;
		reg = <0x55>;
		reset-gpios = GP_ST1633_RESET;
		status = "disabled";
		wakeup-gpios = GP_ST1633_IRQ;
	};

	pca9540: i2cmux9540@70 {
		compatible = "nxp,pca9540";
		reg = <0x70>;
		status = "disabled";
		#address-cells = <1>;
		#size-cells = <0>;

		TOUCHSCREEN_I2C_BUS@0 {
			clock-frequency = <100000>;
			reg = <0>;
			#address-cells = <1>;
			#size-cells = <0>;

			/* Touch screens */
		};

		TOUCHSCREEN_I2C_BUS@1 {
			clock-frequency = <100000>;
			reg = <1>;
			#address-cells = <1>;
			#size-cells = <0>;

			lt8912_2: lt8912_2@48 {
				compatible = "lontium,lt8912";
				display-dsi = <&fb_mipi>;
				interrupts-extended = GPIRQ_LT8912_2;
				pinctrl-names = "default";
				pinctrl-0 = <&pinctrl_lt8912_2>;
				reg = <0x48> ;
				reset-gpios = GP_LT8912_2_RESET;
			};
		};
	};

	pca9540_2: i2cmux9540_2@70 {
		compatible = "nxp,pca9540";
		reg = <0x70>;
		status = "disabled";
		#address-cells = <1>;
		#size-cells = <0>;

		TOUCHSCREEN_I2C_BUS@0 {
			clock-frequency = <100000>;
			reg = <0>;
			#address-cells = <1>;
			#size-cells = <0>;

			/* Touch screens */
			touchscreen@5d {
				compatible = "goodix,gt911";
				display = <&display_subsystem>;
				esd-recovery-timeout-ms = <2000>;
				interrupts-extended = GPIRQ_GT911;
				irq-gpios = GP_GT911_IRQ;
				pinctrl-names = "default";
				pinctrl-0 = <&pinctrl_ts_gt911>;
				reg = <0x5d>;
				reset-gpios = GP_GT911_RESET;
			};
		};

		tc358767_bus: TOUCHSCREEN_I2C_BUS@1 {
			clock-frequency = <100000>;
			reg = <1>;
			#address-cells = <1>;
			#size-cells = <0>;
		};
	};

	pca9546: i2cmux9546@70 {
		compatible = "nxp,pca9546";
		reg = <0x70>;
		status = "disabled";
		#address-cells = <1>;
		#size-cells = <0>;

		TOUCHSCREEN_I2C_BUS@0 {
			clock-frequency = <100000>;
			reg = <0>;
			#address-cells = <1>;
			#size-cells = <0>;

			lt8912@48 {
				compatible = "lontium,lt8912";
				ddc-i2c-bus = <&ddc_i2c_bus>;
				display-dsi = <&fb_mipi>;
				reg = <0x48>;
				reset-gpios = <&max7323 0 GPIO_ACTIVE_LOW>;
			};
		};

		ddc_i2c_bus: TOUCHSCREEN_I2C_BUS@1 {
			clock-frequency = <100000>;
			reg = <1>;
			#address-cells = <1>;
			#size-cells = <0>;
			/* edid  @50 */
		};

		TOUCHSCREEN_I2C_BUS@2 {
			clock-frequency = <100000>;
			reg = <2>;
			#address-cells = <1>;
			#size-cells = <0>;

			/* Touch screens */
			ts_ft5x06_2: touchscreen@38 {
				compatible = "edt,ft5x06-ts";
				interrupts-extended = GPIRQ_TS_FT5X06;
				pinctrl-names = "default";
				pinctrl-0 = <&pinctrl_ts_ft5x06>;
				reg = <0x38>;
				reset-gpios = GP_TS_FT5X06_RESET;
				wakeup-gpios = GP_TS_FT5X06_WAKE;
			};
		};

		TOUCHSCREEN_I2C_BUS@3 {
			clock-frequency = <100000>;
			reg = <3>;
			#address-cells = <1>;
			#size-cells = <0>;

			max7323: max7323@68 {
				compatible = "maxim,max7323";
				gpio-controller;
				reg = <0x68>;
				#gpio-cells = <2>;
			};
		};
	};
};
#endif

&i2c3a {
	rtc@68 {
		compatible = "microcrystal,rv4162";
		pinctrl-names = "default";
		pinctrl-0 = <&pinctrl_i2c3a_rv4162>;
		reg = <0x68>;
		interrupts-extended = GPIRQ_RV4162;
		wakeup-source;
	};
};

&i2c3b {
	ov5640-mipi1@3c {
		AVDD-supply = <&reg_vref_2v5>;
		DOVDD-supply = <&reg_vref_1v8>;
		DVDD-supply = <&reg_vref_3v3>;
		clocks = <&csi_mclk>;
		clock-names = "xclk";
		compatible = "ovti,ov5640_mipisubdev";
		csi_id = <0>;
		mclk = <20000000>;
		mipi_csi;
		pinctrl-names = "default";
		pinctrl-0 = <&pinctrl_i2c3b_ov5640_mipi>;
		powerdown-gpios = GP_OV5640_MIPI_POWER_DOWN;
		reg = <0x3c>;
		reset-gpios = GP_OV5640_MIPI_RESET;
		status = "okay";

		port {
			ov5640_mipi1_ep: endpoint {
				remote-endpoint = <&mipi1_ov5640_ep>;
			};
		};
	};
};

&i2c4 {
	clock-frequency = <100000>;
	pinctrl-names = "default", "gpio";
	pinctrl-0 = <&pinctrl_i2c4>;
	pinctrl-1 = <&pinctrl_i2c4_1>;
	scl-gpios = GP_I2C4_SCL;
	sda-gpios = GP_I2C4_SDA;
	status = "okay";
};

#ifndef SKIP_MIPI_PANELS
&lcdif {
	status = "okay";
};
#endif

&mipi_csi_1 {
	#address-cells = <1>;
	#size-cells = <0>;
	status = "okay";
	port {
		mipi1_ov5640_ep: endpoint@1 {
			remote-endpoint = <&ov5640_mipi1_ep>;
			data-lanes = <2>;
			csis-hs-settle = <13>;
			csis-clk-settle = <2>;
			csis-wclk;
		};

		csi1_mipi_ep: endpoint@2 {
			remote-endpoint = <&csi1_ep>;
		};
	};
};

#ifndef SKIP_MIPI_PANELS
&mipi_dsi {
	assigned-clocks = <&clk IMX8MMN(CLK_DSI_CORE)>,
			  <&clk IMX8MMN(CLK_DSI_PHY_REF)>,
			  <&clk IMX8MMN(VIDEO_PLL1_REF_SEL)>,
			  <&clk IMX8MMN(CLK_LCDIF_PIXEL)>;
	assigned-clock-parents = <&clk IMX8MMN(SYS_PLL1_266M)>,
				 <&clk IMX8MMN(VIDEO_PLL1_OUT)>,
				 <&clk IMX8MMN(CLK_24M)>;
	assigned-clock-rates = <266000000>, <0>, <0>, <66000000>;

	clocks = <&clk IMX8MMN(CLK_DSI_CORE)>,
		 <&clk IMX8MMN(CLK_DSI_PHY_REF)>,
		 <&clk IMX8MMN(CLK_LCDIF_PIXEL)>;
	clock-names = "cfg", "pll-ref", "pixel_clock";
	status = "okay";

	fb_mipi: panel@0 {
		backlight = <&backlight_mipi>;
		bits-per-color = <8>;
		bridge-de-active = <0>;
		bus-format = "rgb888";
		clocks = <&mipi_dsi 0>,
			<&clk IMX8MMN(CLK_LCDIF_PIXEL)>;
		clock-names = "mipi_clk", "pixel_clock";
		compatible = "panel,common";
		dsi-format = "rgb888";
		dsi-lanes = <4>;
#if 0
		/* u-boot will set this where appropriate */
		enable-gpios = GP_LTK08_MIPI_EN;
		mipi-cmds = <&mipi_cmds_ltk080a60a004t>;
#endif
		mode-skip-eot;
		mode-video;
#if 1
		mode-video-burst;
#else
		mode-video-sync-pulse;
#endif
		panel-height-mm = <136>;
		panel-width-mm = <217>;
		pinctrl-names = "sn65dsi83";
		pinctrl-0 = <&pinctrl_sn65dsi83>;
		power-supply = <&reg_vref_5v>;
		reg = <0>;
		sn65dsi83 = <&mipi_to_lvds>;
		spwg;

		display-timings {
			t_mipi: t-dsi-default {
				/* m101nwwb by default */
				clock-frequency = <66000000>;
				hactive = <1280>;
				vactive = <800>;
				hback-porch = <5>;
				hfront-porch = <123>;
				vback-porch = <3>;
				vfront-porch = <24>;
				hsync-len = <1>;
				vsync-len = <1>;
				hsync-active = <0>;
				vsync-active = <0>;
				de-active = <1>;
			};
		};

		mipi_to_lvds: mipi-to-lvds {
			alias = <&mipi_to_lvds>;
			enable-gpios = GP_SN65DSI83_EN;
			i2c-address = <0x2c>;
			i2c-bus = <&TOUCHSCREEN_I2C_BUS>;
			interrupts-extended = GPIRQ_SN65DSI83;
			status = "disabled";
		};
	};
};
#endif

&mu {
	status = "okay";
};

&pwm1 {
	pinctrl-names = "default";
	pinctrl-0 = <&pinctrl_pwm1>;
	status = "okay";
};

&pwm2 {
	assigned-clocks = <&clk IMX8MMN(CLK_PWM2)>;
	assigned-clock-parents = <&clk IMX8MMN(SYS_PLL1_40M)>;
	assigned-clock-rates = <40000000>;
	pinctrl-names = "default";
	pinctrl-0 = <&pinctrl_pwm2>;
	status = "okay";
};

&pwm3 {
	pinctrl-names = "default";
	pinctrl-0 = <&pinctrl_pwm3>;
	status = "okay";
};

&pwm4 {
	pinctrl-names = "default";
	pinctrl-0 = <&pinctrl_pwm4>;
	status = "okay";
};

&sai2 {
	pinctrl-names = "default";
	pinctrl-0 = <&pinctrl_sai2>;
	status = "okay";
};

&sai3 {
	pinctrl-names = "default";
	pinctrl-0 = <&pinctrl_sai3>;
	status = "disabled";
};

&sai5 {
	pinctrl-names = "default";
	pinctrl-0 = <&pinctrl_sai5>;
	status = "disabled";
};

&snvs_pwrkey {
	status = "okay";
};

&uart1 { /* BT */
	pinctrl-names = "default";
	pinctrl-0 = <&pinctrl_uart1>;
	assigned-clocks = <&clk IMX8MMN(CLK_UART1)>;
	assigned-clock-parents = <&clk IMX8MMN(SYS_PLL1_80M)>;
	uart-has-rtscts;
	status = "okay";
};

&uart2 { /* console */
	pinctrl-names = "default";
	pinctrl-0 = <&pinctrl_uart2>;
	assigned-clocks = <&clk IMX8MMN(CLK_UART2)>;
	assigned-clock-parents = <&clk IMX8MMN(CLK_24M)>;
	status = "okay";
};

&uart3 { /* J15 */
	pinctrl-names = "default";
	pinctrl-0 = <&pinctrl_uart3>;
	assigned-clocks = <&clk IMX8MMN(CLK_UART3)>;
	assigned-clock-parents = <&clk IMX8MMN(SYS_PLL1_80M)>;
	uart-has-rtscts;
	status = "okay";
};

&uart4 {
	pinctrl-names = "default";
	pinctrl-0 = <&pinctrl_uart4>;
	assigned-clocks = <&clk IMX8MMN(CLK_UART4)>;
	assigned-clock-parents = <&clk IMX8MMN(SYS_PLL1_80M)>;
	status = "okay";
};

&usbotg1 {
	dr_mode = "otg";
	over-current-active-low;
	pinctrl-names = "default";
	pinctrl-0 = <&pinctrl_usbotg1>;
	power-active-high;
	status = "okay";
};

&usdhc1 {
	bus-width = <8>;
	no-mmc-hs400;
	non-removable;
	pinctrl-names = "default", "state_100mhz", "state_200mhz";
	pinctrl-0 = <&pinctrl_usdhc1>;
	pinctrl-1 = <&pinctrl_usdhc1_100mhz>;
	pinctrl-2 = <&pinctrl_usdhc1_200mhz>;
	status = "okay";
	vmmc-supply = <&reg_vref_3v3>;
	vqmmc-1-8-v;
	vqmmc-supply = <&reg_vref_1v8>;
};

&usdhc2 {
	bus-width = <4>;
	cd-gpios = GP_USDHC2_CD;
	pinctrl-names = "default", "state_100mhz", "state_200mhz";
	pinctrl-0 = <&pinctrl_usdhc2>;
	pinctrl-1 = <&pinctrl_usdhc2_100mhz>;
	pinctrl-2 = <&pinctrl_usdhc2_200mhz>;
	status = "okay";
#if 0
	vqmmc-supply = <&reg_usdhc2_vqmmc>;
#else
	vqmmc-supply = <&reg_ldo2>;
#endif
};

&usdhc3 {
	bus-width = <4>;
	fsl,sdio-async-interrupt-enabled;
	keep-power-in-suspend;
	no-sd-uhs-sdr104;
	non-removable;
	pinctrl-names = "default", "state_100mhz", "state_200mhz";
	pinctrl-0 = <&pinctrl_usdhc3>;
	pinctrl-1 = <&pinctrl_usdhc3_100mhz>;
	pinctrl-2 = <&pinctrl_usdhc3_200mhz>;
	pm-ignore-notify;
	status = "okay";
	vmmc-supply = <&reg_wlan_vmmc>;
	vqmmc-1-8-v;
	vqmmc-supply = <&reg_vref_1v8>;
};

&wdog1 {
	pinctrl-names = "default", "gpio";
	pinctrl-0 = <&pinctrl_wdog>;
	pinctrl-1 = <&pinctrl_wdog_gpio>;
	reset-gpios = GP_WDOG_RESET;
	fsl,ext-reset-output;
	status = "okay";
};
